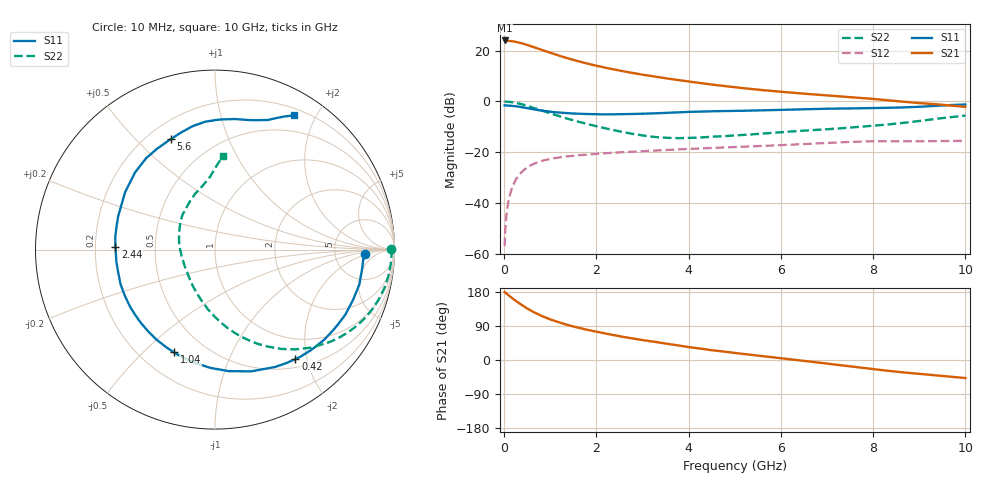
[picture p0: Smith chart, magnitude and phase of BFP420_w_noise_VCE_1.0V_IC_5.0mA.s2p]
! Infineon Technologies  Discrete & RF Semiconductors
! BFP420
! VCE =  1.0 V,  IC =  5.0 mA
! Common Emitter S-Parameters:  Jan 2016
# GHz  S  MA  R  50
!  f  S11  S21  S12  S22
! GHz  MAG  ANG  MAG  ANG  MAG  ANG  MAG  ANG
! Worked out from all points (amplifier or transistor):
!   233 points, 10 MHz to 10 GHz, reference 50 ohm
!   highest |S21| = 24.0 dB at 10 MHz (marker M1)
!   |S21| within 3 dB of that: start of sweep to 704.6 MHz
!   unconditionally stable (mu >= 1): 2.96 GHz to end of sweep
!   at 200 MHz: K = 0.07, MSG = 28.2 dB, |S12| = -32.8 dB
!   at 1.74 GHz: K = 0.63, MSG = 18.1 dB, |S12| = -21.1 dB
!   at 10 GHz: K = 1.11, MAG = 4.7 dB, |S12| = -15.6 dB
!   lowest NFmin = 0.66 dB at 900 MHz
!   S11 on the Smith chart (normalised r, x): 10 MHz: 11, -2; 420 MHz: 0.63, -1.80; 1.04 GHz: 0.34, -0.62; 2.44 GHz: 0.29, +0.01; 5.6 GHz: 0.29, +0.64; 10 GHz: 0.28, +1.71
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0.01  0.8336 -1.8  15.8 179.3  0.0014 76.9  0.9795 0.1
0.02  0.829 -2.7  15.46 178.4  0.0024 87.8  0.9845 -1.6
0.07  0.8261 -9.5  15.5 173.3  0.0081 84.1  0.9803 -6.0
0.15  0.8186 -20.1  15.36 165.6  0.0173 79.6  0.9674 -12.9
0.22  0.8056 -29.1  14.99 159.1  0.025 74.7  0.9457 -18.7
0.3  0.7891 -39.4  14.52 151.9  0.0331 69.7  0.9153 -25.1
0.42  0.7564 -53.7  13.58 142.1  0.0436 62.5  0.858 -33.9
0.5  0.735 -62.8  12.91 135.9  0.0498 58.3  0.817 -39.3
0.6  0.7076 -73.5  12.06 128.9  0.0563 53.5  0.7647 -45.6
0.7  0.6817 -83.5  11.23 122.6  0.0617 49.4  0.7132 -51.2
0.9  0.6393 -100.9  9.699 111.7  0.07 42.9  0.6202 -60.9
1.04  0.6162 -111.7  8.787 105.4  0.0744 39.3  0.5636 -66.9
1.32  0.5864 -130.4  7.294 94.4  0.0813 33.7  0.47 -77.5
1.68  0.5663 -150.0  5.916 83.0  0.0876 28.6  0.3811 -89.2
2.02  0.5553 -164.9  4.973 74.0  0.0926 25.3  0.3196 -99.3
2.44  0.555 178.7  4.134 64.2  0.0978 21.8  0.2623 -112.8
3.4  0.587 150.1  2.935 45.3  0.1085 15.9  0.1937 -148.4
5.1  0.6498 118.5  1.848 17.2  0.1268 6.6  0.215 158.9
5.6  0.6636 111.6  1.663 10.2  0.1321 4.0  0.2309 148.8
6.8  0.7073 96.7  1.349 -6.6  0.1482 -3.2  0.2742 128.1
8.4  0.7456 75.5  1.03 -29.5  0.1631 -17.4  0.3552 102.5
10  0.8674 59.6  0.776 -47.6  0.1667 -26.9  0.5215 85.3
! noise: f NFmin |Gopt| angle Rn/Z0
0.9  0.66  0.21  31  0.15
1.8  1.05  0.09  93  0.13
2.4  1.14  0.14  119  0.13
3  1.24  0.17  165  0.11
4  1.41  0.31  -145  0.12
5  1.85  0.38  -119  0.21
6  2.3  0.45  -101  0.36
